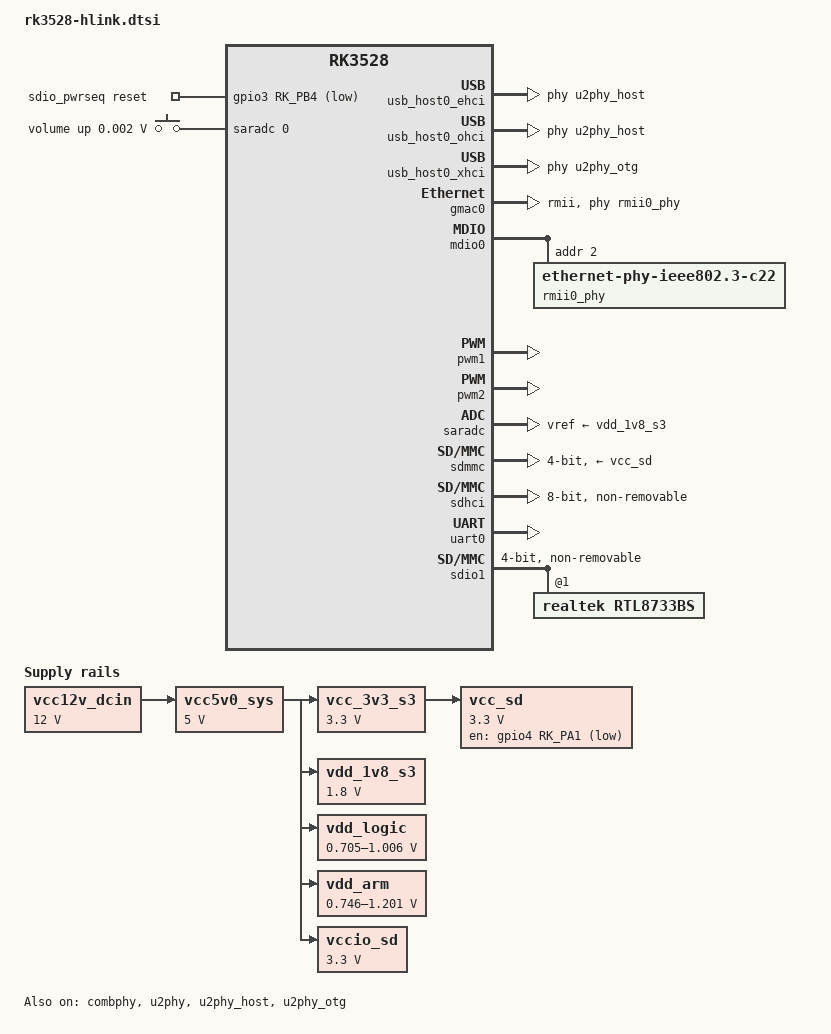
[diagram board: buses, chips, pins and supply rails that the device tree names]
// SPDX-License-Identifier: (GPL-2.0+ OR MIT)
/*
 * 核心依赖文件：已修复 USB 3.0 速度、激活百兆网定义、优化 SD 卡兼容性
 */

#include <dt-bindings/input/input.h>
#include <dt-bindings/leds/common.h>
#include <dt-bindings/pwm/pwm.h>
#include "rk3528.dtsi"
#include "rk3528-op-pwm.dtsi"

/ {
	sdio_pwrseq: sdio-pwrseq {
		compatible = "mmc-pwrseq-simple";
		pinctrl-names = "default";
		/* 核心：这里必须同时包含复位引脚和 32k 时钟引脚 */
		pinctrl-0 = <&wifi_enable_h>, <&wifi_32k_out>;
		reset-gpios = <&gpio3 RK_PB4 GPIO_ACTIVE_LOW>;
		post-power-on-delay-ms = <500>;
	};

	adc_keys: adc-keys {
		status = "okay";
		compatible = "adc-keys";
		io-channels = <&saradc 0>;
		io-channel-names = "buttons";
		keyup-threshold-microvolt = <1800000>;
		poll-interval = <100>;

		vol-up-key {
			label = "volume up";
			linux,code = <KEY_VOLUMEUP>;
			press-threshold-microvolt = <1750>;
		};
	};

	aliases {
		ethernet0 = &gmac0; /* 默认指向百兆 */
		mmc0 = &sdmmc;
		mmc1 = &sdhci;
	};

	chosen: chosen {
		stdout-path = "serial0:1500000n8";
	};

	/* 电源调节器核心配置 */
	vcc12v_dcin: vcc12v-dcin {
		compatible = "regulator-fixed";
		regulator-name = "vcc12v-dcin";
		regulator-always-on;
		regulator-boot-on;
		regulator-min-microvolt = <12000000>;
		regulator-max-microvolt = <12000000>;
	};

	vcc5v0_sys: vcc5v0-sys {
		compatible = "regulator-fixed";
		regulator-name = "vcc5v0_sys";
		regulator-always-on;
		regulator-boot-on;
		regulator-min-microvolt = <5000000>;
		regulator-max-microvolt = <5000000>;
		vin-supply = <&vcc12v_dcin>;
	};

	vcc_3v3_s3: vcc-3v3-s3 {
		compatible = "regulator-fixed";
		regulator-name = "vcc_3v3_s3";
		regulator-always-on;
		regulator-boot-on;
		regulator-min-microvolt = <3300000>;
		regulator-max-microvolt = <3300000>;
		vin-supply = <&vcc5v0_sys>;
	};

	vdd_1v8_s3: vdd-1v8-s3 {
		compatible = "regulator-fixed";
		regulator-name = "vdd_1v8_s3";
		regulator-always-on;
		regulator-boot-on;
		regulator-min-microvolt = <1800000>;
		regulator-max-microvolt = <1800000>;
		vin-supply = <&vcc5v0_sys>;
	};

	vdd_logic: vdd-logic {
		compatible = "pwm-regulator";
		pwms = <&pwm2 0 5000 PWM_POLARITY_INVERTED>;
		regulator-name = "vdd_logic";
		regulator-min-microvolt = <705000>;
		regulator-max-microvolt = <1006000>;
		regulator-init-microvolt = <950000>;
		regulator-always-on;
		regulator-boot-on;
		pwm-supply = <&vcc5v0_sys>;
		status = "okay";
	};

	vdd_arm: vdd-arm {
		compatible = "pwm-regulator";
		pwms = <&pwm1 0 5000 PWM_POLARITY_INVERTED>;
		regulator-name = "vdd_arm";
		regulator-min-microvolt = <746000>;
		regulator-max-microvolt = <1201000>;
		regulator-init-microvolt = <953000>;
		regulator-always-on;
		regulator-boot-on;
		pwm-supply = <&vcc5v0_sys>;
		status = "okay";
	};

	/* SD 卡电源：移除电平切换逻辑，固定 3.3V 提高兼容性 */
	vcc_sd: vcc-sd {
		compatible = "regulator-fixed";
		gpio = <&gpio4 RK_PA1 GPIO_ACTIVE_LOW>;
		regulator-name = "vcc_sd";
		regulator-min-microvolt = <3300000>;
		regulator-max-microvolt = <3300000>;
		vin-supply = <&vcc_3v3_s3>;
	};

	vccio_sd: vccio-sd {
		compatible = "regulator-fixed";
		regulator-name = "vccio_sd";
		regulator-min-microvolt = <3300000>;
		regulator-max-microvolt = <3300000>;
		vin-supply = <&vcc5v0_sys>;
	};
};

/* 确保 USB 2.0 控制器正确挂载到 PHY */
&usb_host0_ehci {
	/* 必须绑定物理层，否则只能供电无法通信 */
	phys = <&u2phy_host>;
	phy-names = "usb2-phy";
	status = "okay";
};

&usb_host0_ohci {
	phys = <&u2phy_host>;
	phy-names = "usb2-phy";
	status = "okay";
};

&combphy {
	status = "okay";
	rockchip,u3phy-only; 
};

/* 确保 XHCI 同时支持 2.0 握手 */
&usb_host0_xhci {
	status = "okay";
	extcon = <&u2phy>;
	maximum-speed = "super-speed";
	/* 这里必须包含 u2phy_otg 才能让 2.0 设备在这个口工作 */
	phys = <&u2phy_otg>, <&combphy PHY_TYPE_USB3>;
	phy-names = "usb2-phy", "usb3-phy";
	/* 解决拔掉再插导致的设备掉线 (Quirks) */
	snps,dis_u2_susphy_quirk;
	snps,dis_enblslpm_quirk;
	snps,dis_u3_susphy_quirk;
	snps,dis-del-phy-power-on-res-quirk;
	snps,tx-fifo-resize;
};

/* 核心 PHY 定义 */
&u2phy {
	status = "okay";
};

&u2phy_host {
	phy-supply = <&vcc5v0_sys>;
	status = "okay";
};

&u2phy_otg {
	phy-supply = <&vcc5v0_sys>;
	status = "okay";
};

/* --- 百兆网 GMAC0 定义 --- */
&gmac0 {
	phy-mode = "rmii";
	phy-handle = <&rmii0_phy>;
};

&mdio0 {
	#address-cells = <1>;
	#size-cells = <0>;
	rmii0_phy: ethernet-phy@2 {
		compatible = "ethernet-phy-ieee802.3-c22";
		reg = <0x2>;
		phy-is-integrated;
		resets = <&cru SRST_MACPHY>;
	};
};

/* --- 基础外设 --- */
&cpu0 { cpu-supply = <&vdd_arm>; };
&cpu1 { cpu-supply = <&vdd_arm>; };
&cpu2 { cpu-supply = <&vdd_arm>; };
&cpu3 { cpu-supply = <&vdd_arm>; };

&pinctrl {
	wifi {
		/* WiFi 使能/复位引脚 */
		wifi_enable_h: wifi-enable-h {
			rockchip,pins = <3 RK_PB4 RK_FUNC_GPIO &pcfg_pull_up>;
		};

		/* 32k 时钟输出引脚 - 必须设置为 M3 模式 */
		wifi_32k_out: wifi-32k-out {
			rockchip,pins = <3 RK_PC3 RK_FUNC_3 &pcfg_pull_none>;
		};
	};
};

&pwm1 { status = "okay"; };
&pwm2 { status = "okay"; };
&saradc { status = "okay"; vref-supply = <&vdd_1v8_s3>; };

&sdmmc {
	bus-width = <4>;
	cap-sd-highspeed;
	max-frequency = <50000000>;
	/delete-property/ sd-uhs-sdr12;
	/delete-property/ sd-uhs-sdr25;
	/delete-property/ sd-uhs-sdr50;
	/delete-property/ sd-uhs-sdr104;
	vmmc-supply = <&vcc_sd>;
	vqmmc-supply = <&vccio_sd>;
	status = "okay";
};

&sdhci {
	bus-width = <8>;
	non-removable;
	status = "okay";
};

&uart0 { status = "okay"; };

/* WiFi 控制器 (SDIO) 激活 */
&sdio1 {
	status = "okay";
	mmc-pwrseq = <&sdio_pwrseq>;
	bus-width = <4>;
	non-removable;
	supports-sdio;
	/* 使用 sdio1 默认的引脚配置 */
	pinctrl-names = "default";
	pinctrl-0 = <&sdio1_bus4>, <&sdio1_clk>, <&sdio1_cmd>;

	rtl8733bs: wifi@1 {
		compatible = "realtek,rtl8733bs", "sdio,common-wifi";
		reg = <1>;
	};
};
